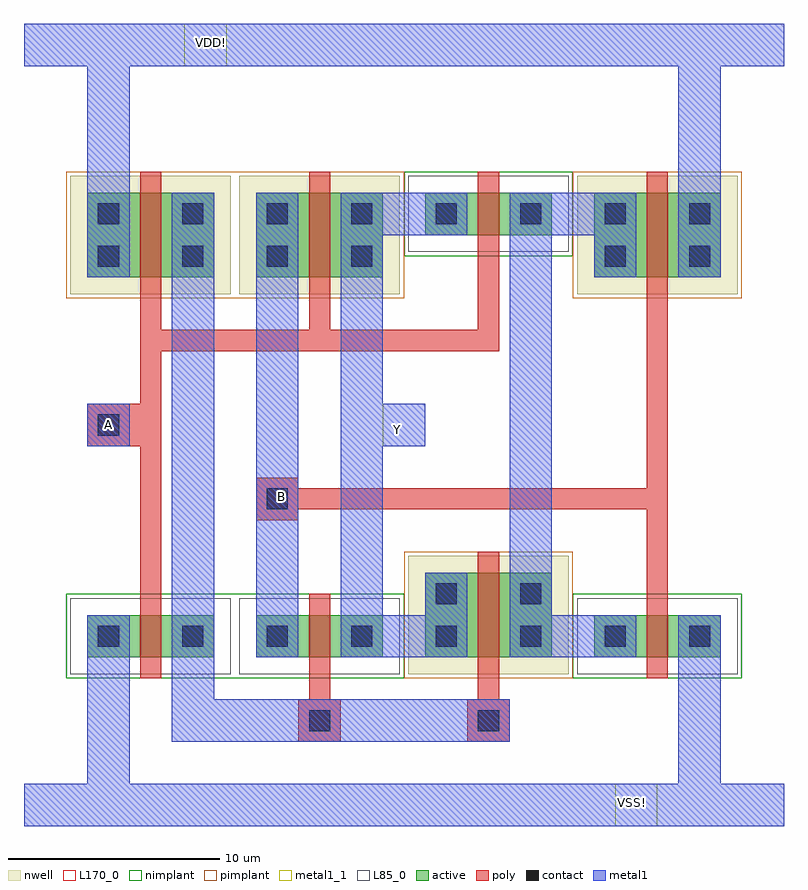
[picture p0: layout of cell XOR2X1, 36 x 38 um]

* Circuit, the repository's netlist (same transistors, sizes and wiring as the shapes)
* +++++++++++++++++++++++++++++++++++++++++++++++++++++++++ *
* CDL Netlist:                                              *
*                                                           *
* Cell Name  : XOR2X1                                       *
* Netlisted  : Mon Dec 20 06:23:36 2021                     *
* PVS Version: 16.15-s010 Fri Jun 28 22:24:07 PDT 2019      *
* +++++++++++++++++++++++++++++++++++++++++++++++++++++++++ *
*.LDD
*.DEVTMPLT 0 MN(nmos3) _nmos1v _soi_nd(D) poly_conn(G) _soi_nsb(S) _soi_nsb(B)
*.DEVTMPLT 1 MP(pmos3) _pmos1v _soi_pd(D) poly_conn(G) _soi_psb(S) _soi_psb(B)

* +++++++++++++++++++++++++++++++++++++++++++++++++++++++++ *
* Sub cell: pmos3_CDNS_2                                    *
* +++++++++++++++++++++++++++++++++++++++++++++++++++++++++ *
.subckt pmos3_CDNS_2 2 3 4
** N=5 EP=3 FDC=1
M0 3 4 2 2 pmos3 L=1e-06 W=4e-06 AD=1e-11 AS=0 PD=1.3e-05 PS=0 fw=4e-06 sa=2e-06 sb=2e-06 $X=7000 $Y=2000 $dt=1
.ends pmos3_CDNS_2

* +++++++++++++++++++++++++++++++++++++++++++++++++++++++++ *
* Sub cell: nmos3_CDNS_3                                    *
* +++++++++++++++++++++++++++++++++++++++++++++++++++++++++ *
.subckt nmos3_CDNS_3 2 3 4
** N=4 EP=3 FDC=1
M0 3 4 2 2 nmos3 L=1e-06 W=2e-06 AD=5e-12 AS=0 PD=9e-06 PS=0 fw=2e-06 sa=2e-06 sb=2e-06 $X=7000 $Y=2000 $dt=0
.ends nmos3_CDNS_3

* +++++++++++++++++++++++++++++++++++++++++++++++++++++++++ *
* Sub cell: XOR2X1                                          *
* +++++++++++++++++++++++++++++++++++++++++++++++++++++++++ *
.subckt XOR2X1 A B VDD! VSS! Y
** N=8 EP=5 FDC=8
X4 VDD! 3 A pmos3_CDNS_2 $T=20000 60000 0 180 $X=4000 $Y=46000
X5 B Y A pmos3_CDNS_2 $T=36000 60000 0 180 $X=20000 $Y=46000
X6 7 Y 3 pmos3_CDNS_2 $T=36000 24000 1 0 $X=36000 $Y=10000
X7 VDD! 7 B pmos3_CDNS_2 $T=52000 60000 1 0 $X=52000 $Y=46000
X8 VSS! 3 A nmos3_CDNS_3 $T=20000 12000 1 180 $X=4000 $Y=12000
X9 B Y 3 nmos3_CDNS_3 $T=36000 20000 0 180 $X=20000 $Y=10000
X10 7 Y A nmos3_CDNS_3 $T=36000 60000 1 0 $X=36000 $Y=50000
X11 VSS! 7 B nmos3_CDNS_3 $T=52000 12000 0 0 $X=52000 $Y=12000
.ends XOR2X1

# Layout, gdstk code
from math import pi, radians
import gdstk
lib = gdstk.Library(unit=1e-6, precision=5e-10)
def R(c, l, rs):  # rectangles x0, y0, x1, y1
    for r in rs: c.add(gdstk.rectangle(r[:2], r[2:], *l))
active = (1, 0)
nwell = (2, 0)
poly = (3, 0)
nimplant = (4, 0)
pimplant = (5, 0)
contact = (6, 0)
metal1 = (7, 0)
metal1_1 = (7, 1)
L85_0 = (85, 0)
L170_0 = (170, 0)

pmos3_cdns_2 = lib.new_cell('pmos3_CDNS_2')
R(pmos3_cdns_2, active, [(1,1,7,5)])
R(pmos3_cdns_2, nwell, [(0.2,0.2,7.8,5.8)])
R(pmos3_cdns_2, poly, [(3.5,0,4.5,7), (3.6,5.6,4.4,5.9)])
R(pmos3_cdns_2, pimplant, [(0,0,8,6)])
R(pmos3_cdns_2, contact, [(1.5,1.5,2.5,2.5), (5.5,1.5,6.5,2.5), (5.5,1.5,6.5,2.5), (1.5,3.5,2.5,4.5), (5.5,3.5,6.5,4.5)])
R(pmos3_cdns_2, metal1, [(1,1,3,5), (5,1,7,5), (1.3,1.3,2.7,2.7), (5.3,1.3,6.7,2.7)])
R(pmos3_cdns_2, L170_0, [(4.5,1,7,5)])

nmos3_cdns_3 = lib.new_cell('nmos3_CDNS_3')
R(nmos3_cdns_3, active, [(1,1,7,3)])
R(nmos3_cdns_3, poly, [(3.5,0,4.5,5), (3.6,3.5,4.4,3.9)])
R(nmos3_cdns_3, nimplant, [(0,0,8,4)])
R(nmos3_cdns_3, contact, [(1.5,1.5,2.5,2.5), (5.5,1.5,6.5,2.5), (5.5,1.5,6.5,2.5)])
R(nmos3_cdns_3, metal1, [(1,1,3,3), (5,1,7,3), (1.3,1.3,2.7,2.7), (5.3,1.3,6.7,2.7)])
R(nmos3_cdns_3, L85_0, [(0.2,0.2,7.8,3.8)])
R(nmos3_cdns_3, L170_0, [(4.5,1,7,3)])

m1_po_cdns_1 = lib.new_cell('M1_PO_CDNS_1')
R(m1_po_cdns_1, poly, [(-1,-1,1,1)])
R(m1_po_cdns_1, contact, [(-0.5,-0.5,0.5,0.5)])
R(m1_po_cdns_1, metal1, [(-1,-1,1,1)])

xor2x1 = lib.new_cell('XOR2X1')
R(xor2x1, poly, [(4.5,17,6,19)])
R(xor2x1, metal1, [(11,13.5,13,15.5), (3,17,5,19), (15,17,19,19)])
R(xor2x1, metal1_1, [(28,-1,30,1), (11,13.5,13,15.5), (3,17,5,19), (17,17,19,19), (7.6,35,9.6,37)])
xor2x1.add(gdstk.FlexPath([(16,28),(20.7,28)], 2, ends=(1, 0), simple_path=True, layer=7, datatype=0))  # metal1
xor2x1.add(gdstk.FlexPath([(16,8),(20.7,8)], 2, ends=(1, 0), simple_path=True, layer=7, datatype=0))  # metal1
xor2x1.add(gdstk.FlexPath([(16,8),(16,7.3)], 2, ends=(1, 0), simple_path=True, layer=7, datatype=0))  # metal1
xor2x1.add(gdstk.FlexPath([(16,28),(16,8)], 2, ends="extended", simple_path=True, layer=7, datatype=0))  # metal1
xor2x1.add(gdstk.FlexPath([(16,28.7),(16,28)], 2, ends=(0, 1), simple_path=True, layer=7, datatype=0))  # metal1
xor2x1.add(gdstk.FlexPath([(24,8),(24,28)], 2, ends="extended", simple_path=True, layer=7, datatype=0))  # metal1
xor2x1.add(gdstk.FlexPath([(15.3,28),(16,28)], 2, ends=(0, 1), simple_path=True, layer=7, datatype=0))  # metal1
xor2x1.add(gdstk.FlexPath([(15.3,8),(16,8)], 2, ends=(0, 1), simple_path=True, layer=7, datatype=0))  # metal1
xor2x1.add(gdstk.FlexPath([(12,28.7),(12,7.3)], 2, ends="flush", simple_path=True, layer=7, datatype=0))  # metal1
xor2x1.add(gdstk.FlexPath([(8,4),(23,4)], 2, ends=(1, 0), simple_path=True, layer=7, datatype=0))  # metal1
xor2x1.add(gdstk.FlexPath([(8,7.3),(8,28.7)], 2, ends="flush", simple_path=True, layer=7, datatype=0))  # metal1
xor2x1.add(gdstk.FlexPath([(8,8.7),(8,4)], 2, ends=(0, 1), simple_path=True, layer=7, datatype=0))  # metal1
xor2x1.add(gdstk.FlexPath([(4,8.7),(4,0)], 2, ends=(0, 1), simple_path=True, layer=7, datatype=0))  # metal1
xor2x1.add(gdstk.FlexPath([(4,27.3),(4,36)], 2, ends=(0, 1), simple_path=True, layer=7, datatype=0))  # metal1
xor2x1.add(gdstk.FlexPath([(24,28.7),(24,28)], 2, ends=(0, 1), simple_path=True, layer=7, datatype=0))  # metal1
xor2x1.add(gdstk.FlexPath([(32,8.7),(32,0)], 2, ends=(0, 1), simple_path=True, layer=7, datatype=0))  # metal1
xor2x1.add(gdstk.FlexPath([(0,36),(36,36)], 2, ends="flush", simple_path=True, layer=7, datatype=0))  # metal1
xor2x1.add(gdstk.FlexPath([(28,28),(24,28)], 2, ends="extended", simple_path=True, layer=7, datatype=0))  # metal1
xor2x1.add(gdstk.FlexPath([(32,27.3),(32,37)], 2, ends="flush", simple_path=True, layer=7, datatype=0))  # metal1
xor2x1.add(gdstk.FlexPath([(0,0),(36,0)], 2, ends="flush", simple_path=True, layer=7, datatype=0))  # metal1
xor2x1.add(gdstk.FlexPath([(28.7,8),(24,8)], 2, ends=(0, 1), simple_path=True, layer=7, datatype=0))  # metal1
xor2x1.add(gdstk.FlexPath([(22,22),(22,27.8)], 1, ends=(0.5, 0), simple_path=True, layer=3, datatype=0))  # poly
xor2x1.add(gdstk.FlexPath([(14,22),(22,22)], 1, ends="extended", simple_path=True, layer=3, datatype=0))  # poly
xor2x1.add(gdstk.FlexPath([(6,9.5),(6,22)], 1, ends=(0, 0.5), simple_path=True, layer=3, datatype=0))  # poly
xor2x1.add(gdstk.FlexPath([(14,22),(6,22)], 1, ends="extended", simple_path=True, layer=3, datatype=0))  # poly
xor2x1.add(gdstk.FlexPath([(14,24.6),(14,22)], 1, ends=(0, 0.5), simple_path=True, layer=3, datatype=0))  # poly
xor2x1.add(gdstk.FlexPath([(30,14.5),(12,14.5)], 1, ends=(0.5, 0), simple_path=True, layer=3, datatype=0))  # poly
xor2x1.add(gdstk.FlexPath([(30,9.5),(30,24.4)], 1, ends="flush", simple_path=True, layer=3, datatype=0))  # poly
xor2x1.add(gdstk.FlexPath([(6,22),(6,24.4)], 1, ends=(0.5, 0), simple_path=True, layer=3, datatype=0))  # poly
xor2x1.add(gdstk.Reference(pmos3_cdns_2, (10,30), rotation=pi))
xor2x1.add(gdstk.Reference(pmos3_cdns_2, (18,30), rotation=pi))
xor2x1.add(gdstk.Reference(pmos3_cdns_2, (18,12), x_reflection=True))
xor2x1.add(gdstk.Reference(pmos3_cdns_2, (26,30), x_reflection=True))
xor2x1.add(gdstk.Reference(nmos3_cdns_3, (18,10), rotation=pi))
xor2x1.add(gdstk.Reference(nmos3_cdns_3, (18,30), x_reflection=True))
xor2x1.add(gdstk.Reference(nmos3_cdns_3, (10,6), rotation=pi, x_reflection=True))
xor2x1.add(gdstk.Reference(nmos3_cdns_3, (26,6)))
xor2x1.add(gdstk.Reference(m1_po_cdns_1, (22,4)))
xor2x1.add(gdstk.Reference(m1_po_cdns_1, (14,4)))
xor2x1.add(gdstk.Reference(m1_po_cdns_1, (12,14.5), rotation=pi, x_reflection=True))
xor2x1.add(gdstk.Reference(m1_po_cdns_1, (4,18)))
xor2x1.add(gdstk.Label('Y', (17.7,17.8), layer=7, texttype=3))
xor2x1.add(gdstk.Label('B', (12.2,14.6), layer=7, texttype=3))
xor2x1.add(gdstk.Label('A', (4,18), layer=7, texttype=3))
xor2x1.add(gdstk.Label('VSS!', (28.8,0.1), layer=7, texttype=3))
xor2x1.add(gdstk.Label('VDD!', (8.9,36.1), layer=7, texttype=3))

lib.write_gds('XOR2X1.gds')
